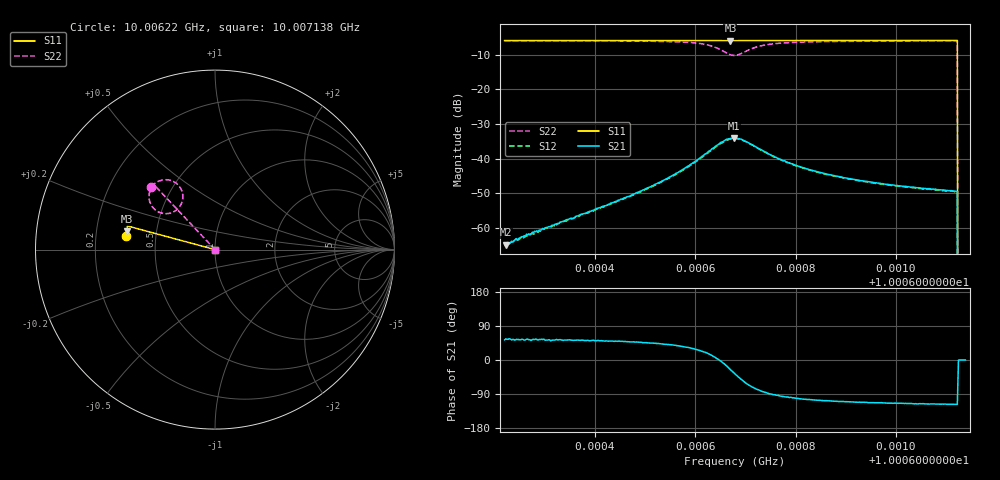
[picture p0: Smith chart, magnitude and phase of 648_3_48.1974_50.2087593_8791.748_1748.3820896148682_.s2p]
#  HZ  S  RI  R  50.00
! Rohde & Schwarz Vector Network Analyzer
! Rohde-Schwarz,ZNB20-2Port,1311601062101988,3.16
! Created: UTC 3/20/2024, 12:05:07 PM
! freq[Hz]  re:S11  im:S11  re:S21  im:S21  re:S12  im:S12  re:S22  im:S22
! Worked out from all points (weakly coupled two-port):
!   401 points, 10.00622 GHz to 10.007138 GHz, reference 50 ohm
!   highest |S21| = -34.01 dB at 10.006677 GHz (marker M1); lowest = -64.7 dB at 10.006223 GHz (marker M2)
!   lowest |S11| = -6.0 dB at 10.00667 GHz (marker M3), VSWR 3.02, Z = 16.7 + j4.61 ohm
!   |S11| at or under -10 dB: 10.007122 GHz to end of sweep
!   |S22| runs from - to -6.0 dB; largest |S21 - S12| = 0.0016
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1.00062202e10  -0.4981 0.0744  0.000355 0.000474  0.000285 0.000472  -0.3556 0.3506
1.00062225e10  -0.498 0.0744  0.000326 0.00048  0.000317 0.000489  -0.3553 0.3509
1.0006234e10  -0.4979 0.0754  0.000391 0.000517  0.000332 0.000533  -0.3545 0.3518
1.00062799e10  -0.4975 0.0782  0.000532 0.000729  0.000476 0.000679  -0.3509 0.3555
1.0006374e10  -0.4968 0.0845  0.000967 0.00126  0.000899 0.00131  -0.3412 0.3641
1.00064704e10  -0.4957 0.0909  0.00196 0.00216  0.00183 0.00224  -0.3253 0.3752
1.00065278e10  -0.4949 0.0946  0.00332 0.00312  0.00308 0.0032  -0.3081 0.3836
1.00065714e10  -0.4944 0.0975  0.00542 0.004  0.00509 0.00415  -0.2843 0.3891
1.00066219e10  -0.4933 0.1009  0.0112 0.00393  0.0107 0.00433  -0.2274 0.3772
1.0006654e10  -0.4921 0.1026  0.0174 -0.00191  0.0171 -0.000739  -0.1806 0.3115
1.00066701e10  -0.4916 0.103  0.0177 -0.00829  0.0178 -0.00695  -0.1897 0.2511
1.0006677e10  -0.4918 0.1031  0.0166 -0.0111  0.0169 -0.00971  -0.2066 0.2282
1.00066793e10  -0.4918 0.1032  0.0159 -0.0119  0.0164 -0.0106  -0.2139 0.2215
1.00066999e10  -0.4922 0.1039  0.00898 -0.0156  0.00995 -0.0146  -0.2865 0.2012
1.00067321e10  -0.4925 0.1059  0.00178 -0.0133  0.00251 -0.013  -0.3505 0.2401
1.00067711e10  -0.4925 0.1088  -0.000981 -0.00972  -0.000446 -0.00959  -0.367 0.2825
1.00068331e10  -0.4918 0.1131  -0.00176 -0.00657  -0.00138 -0.00657  -0.3652 0.3169
1.00068996e10  -0.491 0.1175  -0.00182 -0.00499  -0.00151 -0.00498  -0.3588 0.3354
1.00069868e10  -0.4899 0.1231  -0.00171 -0.00389  -0.00148 -0.00389  -0.3514 0.3495
1.00071177e10  -0.488 0.1315  -0.00156 -0.00304  -0.00136 -0.00304  -0.3418 0.3628
1.00071292e10  0 0  0 0  0 0  0 0
1.00071383e10  0 0  0 0  0 0  0 0
